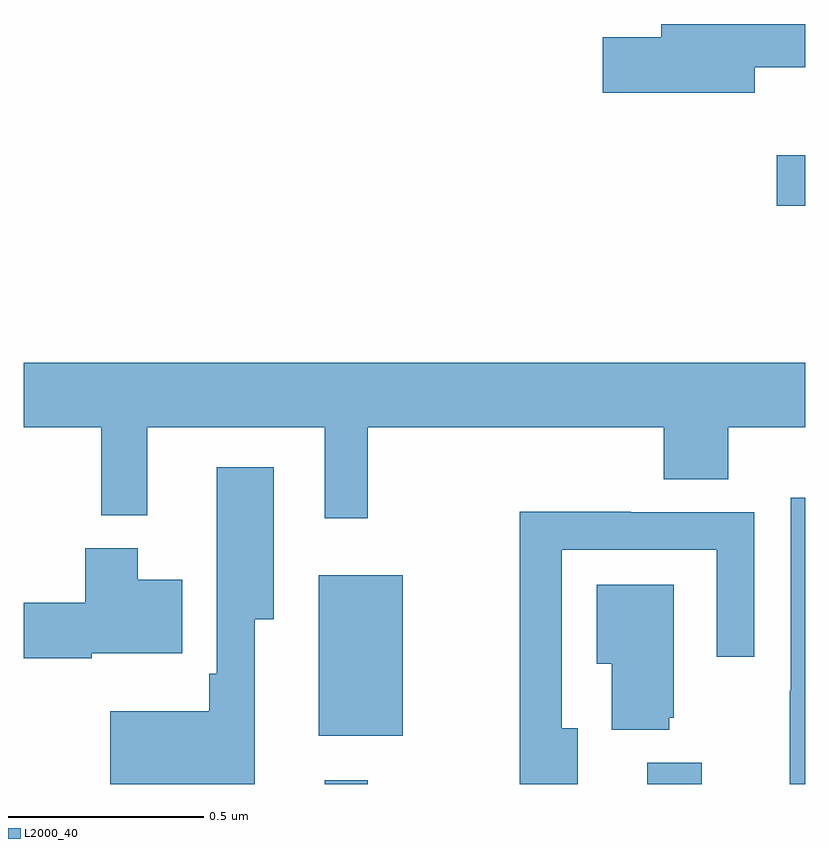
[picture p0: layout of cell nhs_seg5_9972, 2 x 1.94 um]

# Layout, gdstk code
import gdstk
lib = gdstk.Library(unit=1e-6, precision=1e-09)
def R(c, l, rs):  # rectangles x0, y0, x1, y1
    for r in rs: c.add(gdstk.rectangle(r[:2], r[2:], *l))
def P(c, l, *ps):  # polygons
    for p in ps: c.add(gdstk.Polygon(p, *l))
L2000_40 = (2000, 40)

nhs_seg5_9972 = lib.new_cell('nhs_seg5_9972')
R(nhs_seg5_9972, L2000_40, [(240.77,903.799,240.88,903.808), (241.595,903.799,241.735,903.853), (240.755,903.923,240.97,904.333), (241.926,905.278,242,905.407)])
P(nhs_seg5_9972, L2000_40, [(241.87,905.632),(242,905.632),(242,905.743),(241.631,905.743),(241.631,905.709),(241.482,905.709),(241.482,905.567),(241.87,905.567)],
  [(240.88,904.712),(241.637,904.712),(241.637,904.579),(241.802,904.579),(241.802,904.712),(242,904.712),(242,904.876),(240,904.876),(240,904.712),(240.199,904.712),(240.199,904.487),(240.316,904.487),(240.316,904.712),(240.77,904.712),(240.77,904.479),(240.88,904.479)],
  [(240.592,904.22),(240.64,904.22),(240.64,904.609),(240.494,904.609),(240.494,904.081),(240.475,904.081),(240.475,903.985),(240.222,903.985),(240.222,903.799),(240.592,903.799)],
  [(242,904.531),(241.962,904.531),(241.962,904.037),(241.96,904.037),(241.96,903.799),(242,903.799)],
  [(241.417,903.942),(241.377,903.942),(241.377,904.398),(241.773,904.398),(241.773,904.125),(241.869,904.125),(241.869,904.494),(241.553,904.494),(241.553,904.496),(241.269,904.496),(241.269,903.799),(241.417,903.799)],
  [(240.174,904.133),(240.406,904.133),(240.406,904.321),(240.292,904.321),(240.292,904.402),(240.158,904.402),(240.158,904.263),(240,904.263),(240,904.121),(240.174,904.121)],
  [(241.652,903.969),(241.663,903.969),(241.663,904.309),(241.466,904.309),(241.466,904.106),(241.505,904.106),(241.505,903.938),(241.652,903.938)])

lib.write_gds('nhs_seg5_9972.gds')
